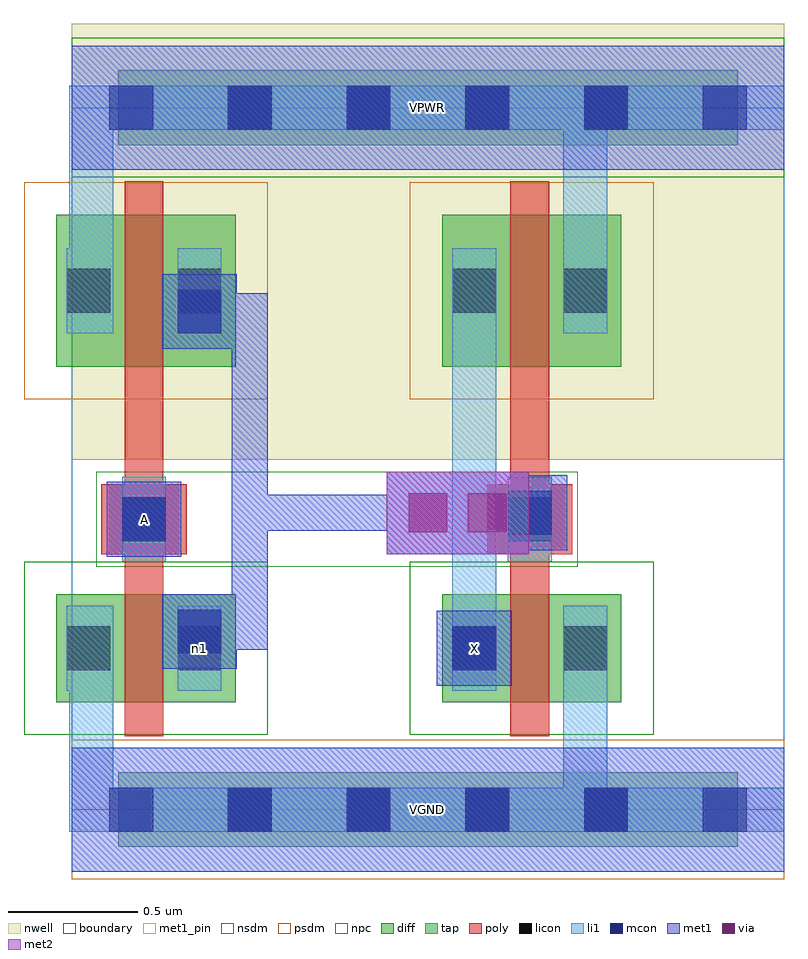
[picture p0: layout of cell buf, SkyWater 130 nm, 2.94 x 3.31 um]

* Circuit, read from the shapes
.subckt buf A VGND VPWR X n1
XM1 n1 A VGND VGND sky130_fd_pr__nfet_01v8 w=0.42 l=0.15
XM2 VGND n1 X VGND sky130_fd_pr__nfet_01v8 w=0.42 l=0.15
XM3 n1 A VPWR VPWR sky130_fd_pr__pfet_01v8 w=0.59 l=0.15
XM4 VPWR n1 X VPWR sky130_fd_pr__pfet_01v8 w=0.59 l=0.15
.ends

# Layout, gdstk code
import gdstk
lib = gdstk.Library(unit=1e-6, precision=1e-09)
def R(c, l, rs):  # rectangles x0, y0, x1, y1
    for r in rs: c.add(gdstk.rectangle(r[:2], r[2:], *l))
def A(c, l, x, y, w, h, nx, ny, dx, dy):  # array of equal rectangles
    R(c, l, [(x+i*dx, y+j*dy, x+i*dx+w, y+j*dy+h) for i in range(nx) for j in range(ny)])
nwell = (64, 20)
diff = (65, 20)
tap = (65, 44)
poly = (66, 20)
licon = (66, 44)
li1 = (67, 20)
mcon = (67, 44)
met1_pin = (68, 16)
met1 = (68, 20)
via = (68, 44)
met2 = (69, 20)
nsdm = (93, 44)
psdm = (94, 20)
npc = (95, 20)
boundary = (235, 4)

buf = lib.new_cell('buf')
R(buf, nwell, [(0,1.355,2.76,3.045)])
R(buf, diff, [(-0.06,0.415,0.635,0.835), (1.435,0.415,2.13,0.835), (-0.06,1.715,0.635,2.305), (1.435,1.715,2.13,2.305)])
R(buf, tap, [(0.18,-0.145,2.58,0.145), (0.18,2.575,2.58,2.865)])
R(buf, poly, [(0.205,0.285,0.355,2.435), (1.7,0.285,1.85,2.435), (0.115,0.99,0.445,1.26), (1.61,0.99,1.94,1.26)])
A(buf, licon, 0.605, -0.085, 0.17, 0.17, 4, 2, 0.46, 2.72)
R(buf, licon, [(-0.02,0.54,0.15,0.71), (0.41,0.54,0.58,0.71), (1.475,0.54,1.645,0.71), (1.905,0.54,2.075,0.71), (0.195,1.04,0.365,1.21), (1.69,1.04,1.86,1.21), (-0.02,1.925,0.15,2.095), (0.41,1.925,0.58,2.095), (1.475,1.925,1.645,2.095), (1.905,1.925,2.075,2.095)])
R(buf, li1, [(-0.01,-0.085,0.16,0.79), (0,-0.085,2.76,0.085), (1.905,-0.085,2.075,0.79), (-0.02,0.46,0.15,0.79), (0.41,0.46,0.58,0.79), (1.475,0.46,1.645,0.79), (1.475,0.46,1.645,2.175), (1.905,0.46,2.075,0.79), (0.195,0.96,0.365,1.29), (1.69,0.96,1.86,1.29), (-0.02,1.845,0.15,2.175), (-0.01,1.845,0.16,2.805), (0.41,1.845,0.58,2.175), (1.475,1.845,1.645,2.175), (1.905,1.845,2.075,2.175), (1.905,1.845,2.075,2.805), (0,2.635,2.76,2.805)])
A(buf, mcon, 0.145, -0.085, 0.17, 0.17, 6, 2, 0.46, 2.72)
R(buf, mcon, [(1.475,0.54,1.645,0.71), (0.41,0.605,0.58,0.775), (0.195,1.04,0.365,1.21), (1.69,1.065,1.86,1.235), (0.41,1.845,0.58,2.015)])
R(buf, met1_pin, [(0,-0.24,2.76,0.24), (1.415,0.48,1.705,0.77), (0.135,0.98,0.425,1.27), (0,2.48,2.76,2.96)])
R(buf, met1, [(0,-0.24,2.76,0.24), (1.415,0.48,1.705,0.77), (0.35,0.545,0.64,0.835), (0.425,0.62,0.76,0.76), (0.62,0.62,0.76,1.91), (0.135,0.98,0.425,1.27), (1.22,0.99,1.54,1.31), (1.45,0.99,1.77,1.31), (1.63,1.005,1.92,1.295), (0.62,1.08,1.45,1.22), (1.54,1.08,1.845,1.22), (0.62,1.77,0.76,2), (0.35,1.785,0.64,2.075), (0.425,1.86,0.76,2), (0,2.48,2.76,2.96)])
R(buf, via, [(1.305,1.075,1.455,1.225), (1.535,1.075,1.685,1.225)])
R(buf, met2, [(1.22,0.99,1.54,1.31), (1.45,0.99,1.77,1.31), (1.31,1.08,1.68,1.22)])
R(buf, nsdm, [(-0.185,0.29,0.76,0.96), (1.31,0.29,2.255,0.96), (0,2.45,2.76,2.99)])
R(buf, psdm, [(0,-0.27,2.76,0.27), (-0.185,1.59,0.76,2.43), (1.31,1.59,2.255,2.43)])
R(buf, npc, [(0.095,0.94,1.96,1.31)])
R(buf, boundary, [(0,0,2.76,2.72)])
buf.add(gdstk.Label('n1', (0.495,0.625), layer=67, texttype=5))
buf.add(gdstk.Label('A', (0.28,1.125), layer=68, texttype=5))
buf.add(gdstk.Label('X', (1.56,0.625), layer=68, texttype=5))
buf.add(gdstk.Label('VPWR', (1.38,2.72), layer=68, texttype=5))
buf.add(gdstk.Label('VGND', (1.38,0), layer=68, texttype=5))
buf.add(gdstk.Label('A', (0.28,1.125), layer=68, texttype=16))
buf.add(gdstk.Label('X', (1.56,0.625), layer=68, texttype=16))
buf.add(gdstk.Label('VPWR', (1.38,2.72), layer=68, texttype=16))
buf.add(gdstk.Label('VGND', (1.38,0), layer=68, texttype=16))

lib.write_gds('buf.gds')
